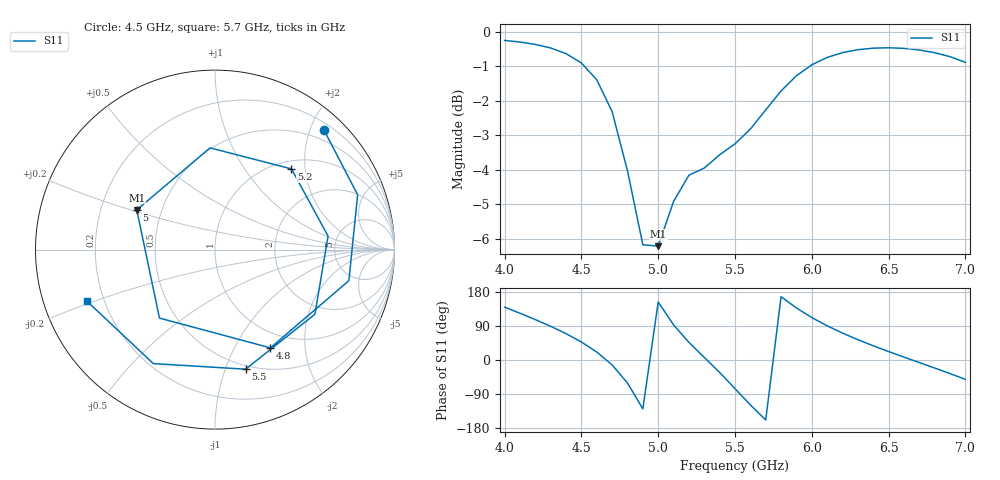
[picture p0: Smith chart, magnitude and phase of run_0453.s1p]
! Touchstone file exported from HFSS 2024.2.0
!  File:  C:/Users/wsak9/Desktop/Sim Fast/Widenad Patch/WP_AI_V1_sweep.aedt
!  Generated:  10:43:24 AM Oct 14, 2026
!  Design:  A1_model
!  Project:  WP_AI_V1_sweep
!  Setup:  Setup1
!  Solution:  Sweep
! Variables:
!  Air_gap = 3.15mm
!  Curve_Amp1 = 2.48
!  Curve_len1 = 1
!  Curve_pos = 11.455mm
!  Extra = 2.05mm
!  H_sub = 0.79mm
!  L_Patch = 18.91mm
!  L_Patch1 = 10.2mm
!  Sx = 4.61mm
!  Sy = 1.54mm
!  WS = 1.07mm
!  W_Patch = 17.72mm
!  W_Patch1 = 8.15mm
!Data is not renormalized
# GHz S MA
! Terminal data exported
! Port[1] = 1
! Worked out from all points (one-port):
!   31 points, 4 GHz to 7 GHz, reference per port
!   lowest |S11| = -6.2 dB at 5 GHz (marker M1), VSWR 2.91
!   |S11| at or under -10 dB: nowhere
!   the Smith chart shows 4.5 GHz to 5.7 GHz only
!   S11 on the Smith chart (normalised r, x): 4.5 GHz: 0.32, +2.23; 4.8 GHz: 0.78, -1.41; 5 GHz: 0.36, +0.21; 5.2 GHz: 1.16, +1.69; 5.5 GHz: 0.47, -1.18; 5.7 GHz: 0.13, -0.19
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4  0.9708 139.6
4.2  0.9581 106.6
4.3  0.9467 88.9
4.4  0.929 69.5
4.5  0.9004 47.5
4.6  0.8515 21.0
4.7  0.7658 -13.1
4.8  0.6285 -60.6
4.9  0.4913 -129.0
5  0.4889 153.1
5.1  0.5674 92.8
5.2  0.6194 46.5
5.3  0.6344 6.8
5.4  0.663 -32.9
5.5  0.6877 -75.6
5.6  0.7222 -118.4
5.7  0.7701 -158.2
5.8  0.8203 166.9
5.9  0.863 137.3
6  0.895 112.0
6.1  0.9174 90.3
6.2  0.9322 71.0
6.3  0.9413 53.6
6.4  0.9461 37.5
6.5  0.9474 22.3
6.7  0.9404 -6.8
6.8  0.932 -21.2
7  0.9023 -51.1
